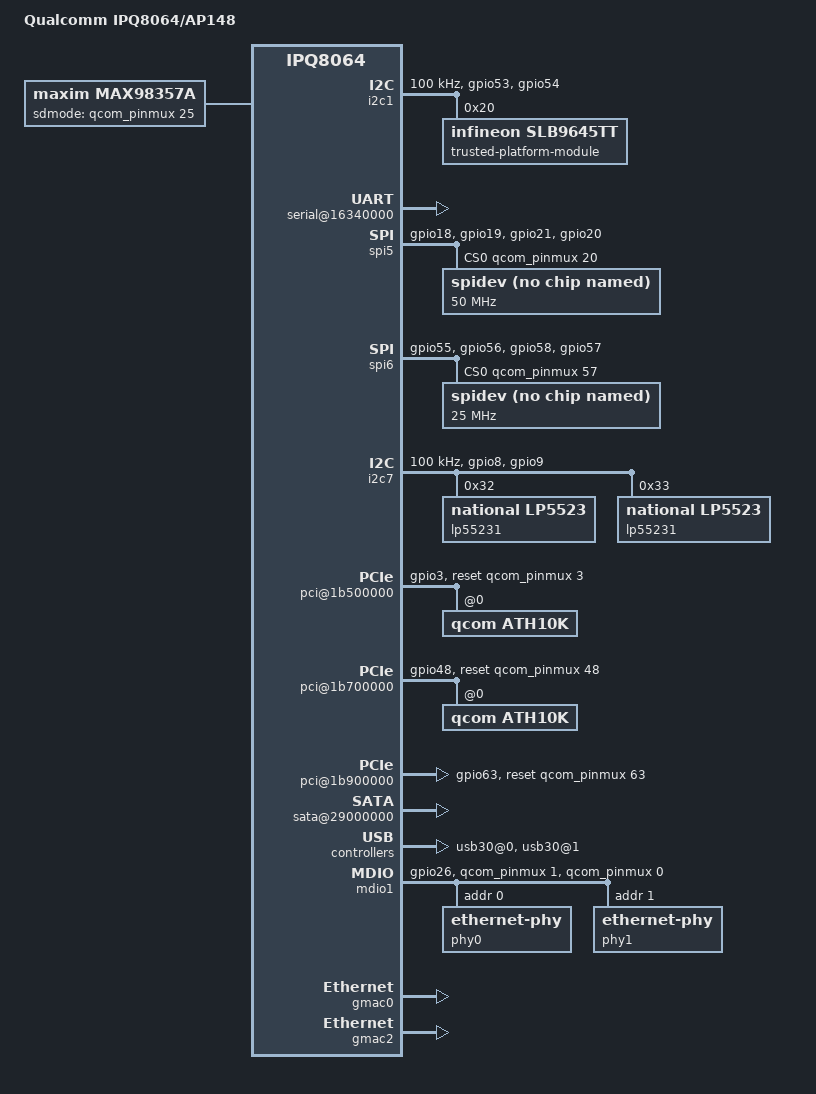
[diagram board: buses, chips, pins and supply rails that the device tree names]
/* #include "qcom-ipq8064-v2.0.dtsi" */
#include "qcom-ipq8064-v1.0.dtsi"

#include <dt-bindings/input/input.h>
#include <dt-bindings/soc/qcom,tcsr.h>

/*
This is my version of the tweaked dts file for the Tplink Onhub, I started from
https://chromium.googlesource.com/chromiumos/third_party/kernel/+/chromeos-3.14/arch/arm/boot/dts/qcom-ipq8064-whirlwind-sp5.dts


Summary of changes made
 * change #include to use the v2.0 that's part of this openwrt
 * add new string to 'compatible'
 * add include of dt-bindings that were found in other files using qcom-usb-ctrl-select, switch back to v1 for main include
 * change label of mdio0 to mdio1 because it was conflicting with arch/arm/boot/dts/qcom-ipq8064.dtsi:		mdio0: mdio@37000000 {
 * set #address-cells = <1>; #size-cells = <0>; on spi5 and spi6
 * add @20 to fix
  qcom-ipq8064-onhub.dts:273.29-277.7: Warning (i2c_bus_reg): /soc/gsbi@12440000/i2c@12460000/trusted-platform-module: I2C bus unit address format error, expected "20"
  https://patchwork.kernel.org/project/linux-arm-kernel/patch/20180913181245.25484-13-robh@kernel.org/
 * fix dma references (shouldn't include third reference, but can't find the patch that led me to that)
 qcom-ipq8064-onhub.dts:304.5-305.22: Warning (dmas_property): /soc/gsbi@1a200000/spi@1a280000:dmas: cell 2 is not a phandle reference
 * add compatible = "qcom,ath10k"; to the ath10k pci devices
 remove properties  qcom,ath10k-sa-gpio and qcom,ath10k-sa-gpio-func since they threw warnings and weren't mentioned in ath10k driver file
 /home/debian/openwrt/build_dir/target-arm_cortex-a9+neon-fp16_musl_eabi/linux-ipq806x_chromium/linux-5.10.120/arch/arm/boot/dts/qcom-ipq8064-onhub.dts:463.6-41: Warning (gpios_property): /soc/pci@1b500000/pcie@0/ath10k@0,0:qcom,ath10k-sa-gpio: cell 0 is not a phandle reference
/home/debian/openwrt/build_dir/target-arm_cortex-a9+neon-fp16_musl_eabi/linux-ipq806x_chromium/linux-5.10.120/arch/arm/boot/dts/qcom-ipq8064-onhub.dts:459.16-465.7: Warning (gpios_property): /soc/pci@1b500000/pcie@0/ath10k@0,0: Missing property '#gpio-cells' in node /soc/qfprom@700000/speedbin@0c0 or bad phandle (referred from qcom,ath10k-sa-gpio[0])
 https://elixir.bootlin.com/linux/latest/source/Documentation/devicetree/bindings/net/wireless/qcom,ath10k.txt
* add 'chosen' block copied from google wifi dts


TODOs?
 * should the model name and compatible name be more like TP-LINK OnHub TGR1900?
 * do a diff between the qcom-ipq8064-v1.0.dtsi that's part of newer 5.10 kernels, and the one that's in the chromiumos repository
*/

/ {
	model = "Qualcomm IPQ8064/AP148";
	compatible = "tplink,onhub", "google,whirlwind-sp5", "qcom,ipq8064";

	chosen {
		/*
		 * rootwait: in case we're booting from slow/async USB storage.
		 */
		bootargs-append = " rootwait";
		stdout-path = &blsp1_uart1;
	};

	reserved-memory {
		#address-cells = <1>;
		#size-cells = <1>;
		rsvd@41200000 {
			reg = <0x41200000 0x300000>;
			no-map;
		};
	};
	aliases {
		mdio-gpio0 = &mdio1;
		spi5 = &spi5; /* flashrom requires this bus to be the lowest */
		spi6 = &spi6;
	};
	firmware {
		chromeos {
			pinctrl-0 = <&fw_pins>;
			pinctrl-names = "default";
			write-protect-gpio = <&qcom_pinmux 17 1>;
			recovery-switch = <&qcom_pinmux 16 1>;
			developer-switch = <&qcom_pinmux 15 1>;
		};
	};
	soc {
		pinmux@800000 {
			pinctrl-0 = <&rgmii0_pinmux>;
			pinctrl-names = "default";
			mi2s_pins {
				mi2s_default: mi2s_default {
					dout {
						pins = "gpio32";
						function = "mi2s_a";
						drive-strength = <16>;
						bias-disable;
					};
					sync {
						pins = "gpio27";
						function = "mi2s_a";
						drive-strength = <16>;
						bias-disable;
					};
					clk {
						pins = "gpio28";
						function = "mi2s_a";
						drive-strength = <16>;
						bias-disable;
					};
				};
				mi2s_idle: mi2s_idle {
					dout {
						pins = "gpio32";
						function = "mi2s_a";
						drive-strength = <2>;
						bias-pull-down;
					};
					sync {
						pins = "gpio27";
						function = "mi2s_a";
						drive-strength = <2>;
						bias-pull-down;
					};
					clk {
						pins = "gpio28";
						function = "mi2s_a";
						drive-strength = <2>;
						bias-pull-down;
					};
				};
			};
			sdmode_pins: sdmode_pinmux {
				pins = "gpio25";
				function = "gpio";
				drive-strength = <16>;
				bias-disable;
			};
			sdcc1_pins: sdcc1_pinmux {
				mux {
					pins = "gpio38", "gpio39", "gpio40",
					       "gpio41", "gpio42", "gpio43",
					       "gpio44", "gpio45", "gpio46",
					       "gpio47";
					function = "sdc1";
				};
				cmd {
					pins = "gpio45";
					drive-strength = <10>;
					bias-pull-up;
				};
				data {
					pins = "gpio38", "gpio39", "gpio40",
					       "gpio41", "gpio43", "gpio44",
					       "gpio46", "gpio47";
					drive-strength = <10>;
					bias-pull-up;
				};
				clk {
					pins = "gpio42";
					drive-strength = <16>;
					bias-pull-down;
				};
			};
			i2c1_pins: i2c1_pinmux {
				pins = "gpio53", "gpio54";
				function = "gsbi1";
				bias-disable;
			};
			rpm_i2c_pinmux: rpm_i2c_pinmux {
				mux {
					pins = "gpio12", "gpio13";
					function = "gsbi4";
					drive-strength = <12>;
					bias-disable;
				};
			};
			i2c7_pins: i2c7_pinmux {
				mux {
					pins = "gpio8", "gpio9";
					function = "gsbi7";
				};
				data {
					pins = "gpio8";
					bias-disable;
				};
				clk {
					pins = "gpio9";
					bias-disable;
				};
			};
			pcie1_pins: pcie1_pinmux {
				mux {
					pins = "gpio3";
					drive-strength = <2>;
					bias-disable;
				};
			};
			pcie2_pins: pcie2_pinmux {
				mux {
					pins = "gpio48";
					drive-strength = <2>;
					bias-disable;
				};
			};
			pcie3_pins: pcie3_pinmux {
				mux {
					pins = "gpio63";
					drive-strength = <2>;
					bias-disable;
				};
			};
			rgmii0_pinmux: rgmii0_pinmux {
				mux {
					pins = "gpio2", "gpio66";
					drive-strength = <8>;
					bias-disable;
				};
			};
			spi_pins: spi_pins {
				mux {
					pins = "gpio18", "gpio19", "gpio21";
					function = "gsbi5";
					bias-pull-down;
				};
				data {
					pins = "gpio18", "gpio19";
					drive-strength = <10>;
				};
				cs {
					pins = "gpio20";
					drive-strength = <10>;
					bias-pull-up;
				};
				clk {
					pins = "gpio21";
					drive-strength = <12>;
				};
			};
			switch_reset: switch_reset {
				rst {
					pins = "gpio26";
					output-low;
				};
			};
			fw_pins: fw_pinmux {
				wp {
					pins = "gpio17";
					output-low;
				};
				recovery {
					pins = "gpio16";
					bias-none;
				};
				developer {
					pins = "gpio15";
					bias-none;
				};
			};
			spi6_pins: spi6_pins {
				mux {
					pins = "gpio55", "gpio56", "gpio58";
					function = "gsbi6_b";
					bias-pull-down;
				};
				data {
					pins = "gpio55", "gpio56";
					drive-strength = <10>;
				};
				cs {
					pins = "gpio57";
					drive-strength = <10>;
					bias-pull-up;
					output-high;
				};
				clk {
					pins = "gpio58";
					drive-strength = <12>;
				};
			};
		};
		sound {
			compatible = "qcom,ipq806x-max98357a";
			status = "ok";
			qcom,model = "ipq806x-max98357a";
			cpu = <&lpass>;
			codec = <&max98357a>;
			codec-dai = "max98357a";
		};
		lpass: lpass@28100000 {
			status = "ok";
			pinctrl-names = "default", "idle";
			pinctrl-0 = <&mi2s_default>;
			pinctrl-1 = <&mi2s_idle>;
		};
		max98357a: max98357a {
			compatible = "maxim,max98357a";
			status = "ok";
			#sound-dai-cells = <1>;
			sdmode-gpios = <&qcom_pinmux 25 0>;
		};
		gsbi1: gsbi@12440000 {
			qcom,mode = <GSBI_PROT_I2C_UART>;
			status = "ok";
			i2c1: i2c@12460000 {
				status = "ok";
				clock-frequency = <100000>;
				pinctrl-0 = <&i2c1_pins>;
				pinctrl-names = "default";
				trusted-platform-module@20 {
					compatible = "infineon,slb9645tt";
					reg = <0x20>;
					powered-while-suspended;
				};
			};
		};
		gsbi@16300000 {
			qcom,mode = <GSBI_PROT_I2C_UART>;
			status = "ok";
			serial@16340000 {
				status = "ok";
			};
			/*
			 * The i2c device on gsbi4 should not be enabled.
			 * On ipq806x designs gsbi4 i2c is meant for exclusive
			 * RPM usage. Turning this on in kernel manifests as
			 * i2c failure for the RPM.
			 */
		};
		gsbi5: gsbi@1a200000 {
			qcom,mode = <GSBI_PROT_SPI>;
			status = "ok";
			spi5: spi@1a280000 {
				#address-cells = <1>;
				#size-cells = <0>;
				status = "ok";
				spi-max-frequency = <50000000>;
				pinctrl-0 = <&spi_pins>;
				pinctrl-names = "default";
				cs-gpios = <&qcom_pinmux 20 0>;
				dmas = <&adm_dma 6>,
					<&adm_dma 5>;
				dma-names = "rx", "tx";
				spidev@0 {
					compatible = "spidev";
					reg = <0>;
					spi-max-frequency = <50000000>;
				};
			};
		};
		gsbi6: gsbi@16500000 {
			qcom,mode = <GSBI_PROT_SPI>;
			status = "ok";
			spi6: spi@16580000 {
				#address-cells = <1>;
				#size-cells = <0>;
				status = "ok";
				spi-max-frequency = <25000000>;
				pinctrl-0 = <&spi6_pins>;
				pinctrl-names = "default";
				cs-gpios = <&qcom_pinmux 57 0>;
				dmas = <&adm_dma 8>,
					<&adm_dma 7>;
				dma-names = "rx", "tx";
				spidev@0 {
					compatible = "spidev";
					reg = <0>;
					spi-max-frequency = <25000000>;
				};
			};
		};
		gsbi7: gsbi@16600000 {
			qcom,mode = <GSBI_PROT_I2C_UART>;
			status = "ok";
			i2c7: i2c@16680000 {
				status = "ok";
				clock-frequency = <100000>;
				pinctrl-0 = <&i2c7_pins>;
				pinctrl-names = "default";
				lp55231@32 {
					compatible = "national,lp5523";
					reg = <0x32>;
					clock-mode = /bits/ 8 <1>;
					chan0 {
						chan-name = "LED0_Red";
						led-cur = /bits/ 8 <0x64>;
						max-cur = /bits/ 8 <0x78>;
					};
					chan1 {
						chan-name = "LED0_Green";
						led-cur = /bits/ 8 <0x64>;
						max-cur = /bits/ 8 <0x78>;
					};
					chan2 {
						chan-name = "LED0_Blue";
						led-cur = /bits/ 8 <0x64>;
						max-cur = /bits/ 8 <0x78>;
					};
					chan3 {
						chan-name = "LED1_Red";
						led-cur = /bits/ 8 <0x64>;
						max-cur = /bits/ 8 <0x78>;
					};
					chan4 {
						chan-name = "LED1_Green";
						led-cur = /bits/ 8 <0x64>;
						max-cur = /bits/ 8 <0x78>;
					};
					chan5 {
						chan-name = "LED1_Blue";
						led-cur = /bits/ 8 <0x64>;
						max-cur = /bits/ 8 <0x78>;
					};
					chan6 {
						chan-name = "LED2_Red";
						led-cur = /bits/ 8 <0x64>;
						max-cur = /bits/ 8 <0x78>;
					};
					chan7 {
						chan-name = "LED2_Green";
						led-cur = /bits/ 8 <0x64>;
						max-cur = /bits/ 8 <0x78>;
					};
					chan8 {
						chan-name = "LED2_Blue";
						led-cur = /bits/ 8 <0x64>;
						max-cur = /bits/ 8 <0x78>;
					};
				};
				lp55231@33 {
					compatible = "national,lp5523";
					reg = <0x33>;
					clock-mode = /bits/ 8 <1>;
					chan0 {
						chan-name = "LED3_Red";
						led-cur = /bits/ 8 <0x64>;
						max-cur = /bits/ 8 <0x78>;
					};
					chan1 {
						chan-name = "LED3_Green";
						led-cur = /bits/ 8 <0x64>;
						max-cur = /bits/ 8 <0x78>;
					};
					chan2 {
						chan-name = "LED3_Blue";
						led-cur = /bits/ 8 <0x64>;
						max-cur = /bits/ 8 <0x78>;
					};
					chan3 {
						chan-name = "LED4_Red";
						led-cur = /bits/ 8 <0x64>;
						max-cur = /bits/ 8 <0x78>;
					};
					chan4 {
						chan-name = "LED4_Green";
						led-cur = /bits/ 8 <0x64>;
						max-cur = /bits/ 8 <0x78>;
					};
					chan5 {
						chan-name = "LED4_Blue";
						led-cur = /bits/ 8 <0x64>;
						max-cur = /bits/ 8 <0x78>;
					};
					chan6 {
						chan-name = "LED5_Red";
						led-cur = /bits/ 8 <0x64>;
						max-cur = /bits/ 8 <0x78>;
					};
					chan7 {
						chan-name = "LED5_Green";
						led-cur = /bits/ 8 <0x64>;
						max-cur = /bits/ 8 <0x78>;
					};
					chan8 {
						chan-name = "LED5_Blue";
						led-cur = /bits/ 8 <0x64>;
						max-cur = /bits/ 8 <0x78>;
					};
				};
			};
		};
		pci@1b500000 {
			status = "ok";
			reset-gpio = <&qcom_pinmux 3 0>;
			pinctrl-0 = <&pcie1_pins>;
			pinctrl-names = "default";
			ranges = <0x00000000 0 0x00000000 0x0ff00000 0 0x00100000   /* configuration space */
				  0x81000000 0 0	  0x0fe00000 0 0x00100000   /* downstream I/O */
				  0x82000000 0 0x00000000 0x08000000 0 0x07e00000>; /* non-prefetchable memory */
			pcie@0 {
				reg = <0 0 0 0 0>;
				#interrupt-cells = <1>;
				#size-cells = <2>;
				#address-cells = <3>;
				device_type = "pci";
				ath10k@0,0 {
		            compatible = "qcom,ath10k";
					reg = <0 0 0 0 0>;
					/*device_type = "pci";*/
					qcom,ath10k-calibration-data = [00];
					/*
					qcom,ath10k-sa-gpio = <12 13 14 0>;
					qcom,ath10k-sa-gpio-func = <5 5 5 0>;
					*/
				};
			};
		};
		pci@1b700000 {
			status = "ok";
			reset-gpio = <&qcom_pinmux 48 0>;
			pinctrl-0 = <&pcie2_pins>;
			pinctrl-names = "default";
			ranges = <0x00000000 0 0x00000000 0x31f00000 0 0x00100000   /* configuration space */
				  0x81000000 0 0	  0x31e00000 0 0x00100000   /* downstream I/O */
				  0x82000000 0 0x00000000 0x2e000000 0 0x03e00000>; /* non-prefetchable memory */
			pcie@0 {
				reg = <0 0 0 0 0>;
				#interrupt-cells = <1>;
				#size-cells = <2>;
				#address-cells = <3>;
				device_type = "pci";
				ath10k@0,0 {
		            compatible = "qcom,ath10k";
					reg = <0 0 0 0 0>;
					/* device_type = "pci"; */
					qcom,ath10k-calibration-data = [00];
					/*
					qcom,ath10k-sa-gpio = <12 13 14 0>;
					qcom,ath10k-sa-gpio-func = <5 5 5 0>;
					*/
				};
			};
		};
		pci@1b900000 {
			status = "ok";
			reset-gpio = <&qcom_pinmux 63 0>;
			pinctrl-0 = <&pcie3_pins>;
			pinctrl-names = "default";
			ranges = <0x00000000 0 0x00000000 0x35f00000 0 0x00100000   /* configuration space */
				  0x81000000 0 0	  0x35e00000 0 0x00100000   /* downstream I/O */
				  0x82000000 0 0x00000000 0x32000000 0 0x03e00000>; /* non-prefetchable memory */
			pcie@0 {
				reg = <0 0 0 0 0>;
				#interrupt-cells = <1>;
				#size-cells = <2>;
				#address-cells = <3>;
				device_type = "pci";
				ath10k@0,0 {
					reg = <0 0 0 0 0>;
					/*device_type = "pci";*/
					qcom,ath10k-calibration-data = [00];
				};
			};
		};
		sata-phy@1b400000 {
			status = "ok";
		};
		sata@29000000 {
			status = "ok";
		};
		dma@18300000 {
			status = "ok";
		};
		tcsr@1a400000 {
			status = "ok";
			qcom,usb-ctrl-select = <TCSR_USB_SELECT_USB3_DUAL>;
			/*
			TODO
			I think that the adm-*-crci-mux-sel functions are not in the mainline kernel, perhaps a chromium os
			only patch?
			https://groups.google.com/a/chromium.org/g/chromium-os-reviews/c/nYWrv8nrl80

			Commenting these out for now, since the old v3 didn't use them either.  Perhaps if the usb port doesn't
			work right, then we can come back to it?
			*/
			/*
			qcom,adm-a-crci-mux-sel = <(TCSR_ADM_CRCI_SEL(GSBI1, ADM_CRCI_QUP) |
						    TCSR_ADM_CRCI_SEL(GSBI4, ADM_CRCI_QUP) |
						    TCSR_ADM_CRCI_SEL(GSBI5, ADM_CRCI_QUP) |
						    TCSR_ADM_CRCI_SEL(GSBI6, ADM_CRCI_QUP) |
						    TCSR_ADM_CRCI_SEL(GSBI7, ADM_CRCI_QUP))>;
			qcom,adm-b-crci-mux-sel = <(TCSR_ADM_CRCI_SEL(GSBI1, ADM_CRCI_QUP) |
						    TCSR_ADM_CRCI_SEL(GSBI4, ADM_CRCI_QUP) |
						    TCSR_ADM_CRCI_SEL(GSBI5, ADM_CRCI_QUP) |
						    TCSR_ADM_CRCI_SEL(GSBI6, ADM_CRCI_QUP) |
						    TCSR_ADM_CRCI_SEL(GSBI7, ADM_CRCI_QUP))>;
			*/
		};
		phy@100f8800 {		/* USB3 port 1 HS phy */
			status = "ok";
		};
		phy@100f8830 {		/* USB3 port 1 SS phy */
			status = "ok";
		};
		phy@110f8800 {		/* USB3 port 0 HS phy */
			status = "ok";
		};
		phy@110f8830 {		/* USB3 port 0 SS phy */
			status = "ok";
		};
		usb30@0 {
			status = "ok";
		};
		usb30@1 {
			status = "ok";
		};
		amba {
			/* eMMC */
			sdcc1: sdcc@12400000 {
				status = "okay";
				pinctrl-0 = <&sdcc1_pins>;
				pinctrl-names = "default";
			};
			/* External micro SD card */
			sdcc3: sdcc@12180000 {
				status = "okay";
			};
		};
		mdio1: mdio {
			compatible = "virtual,mdio-gpio";
			#address-cells = <1>;
			#size-cells = <0>;
			gpios = <&qcom_pinmux 1 0 &qcom_pinmux 0 0>;
			pinctrl-0 = <&switch_reset>;
			pinctrl-names = "default";
			phy0: ethernet-phy@0 {
				device_type = "ethernet-phy";
				reg = <0>;
				qca,ar8327-initvals = <
					0x00004 0x7600000   /* PAD0_MODE */
					0x00008 0x1000000   /* PAD5_MODE */
					0x0000c 0x80        /* PAD6_MODE */
					0x000e4 0xaa545     /* MAC_POWER_SEL */
					0x000e0 0xc74164de  /* SGMII_CTRL */
					0x0007c 0x4e        /* PORT0_STATUS */
					0x00094 0x4e        /* PORT6_STATUS */
				>;
				qca,ar8327-vlans =<
					0x1	0x42	/* VLAN1 Ports 1/6 */
					0x2	0x05	/* VLAN2 Ports 0/2 */
				>;
			};
			phy1: ethernet-phy@1 {
				device_type = "ethernet-phy";
				reg = <1>;
			};
		};
		/*
		TODO figure out how to include NSS (network accelerator) if we can get the <$gcc> syntax figured out
		Maybe it needs to be done in a patch?
		*/
		/*
		nss0: nss@40000000 {
			compatible = "qcom,nss0";
			interrupts = <0 213 0x4>;
			reg = <0x36000000 0x1000 0x39000000 0x20000>;
			reg-names = "nphys", "vphys";
			clocks = <&gcc NSS_CORE_CLK>, <&gcc NSSTCM_CLK_SRC>, <&gcc NSSTCM_CLK>;
			clock-names = "nss_core_clk", "nss_tcm_src", "nss_tcm_clk";
			resets = <&gcc UBI32_CORE1_CLKRST_CLAMP_RESET>,
				 <&gcc UBI32_CORE1_CLAMP_RESET>,
				 <&gcc UBI32_CORE1_AHB_RESET>,
				 <&gcc UBI32_CORE1_AXI_RESET>;
			reset-names = "clkrst_clamp", "clamp", "ahb", "axi";
			qcom,id = <0>;
			qcom,num_irq = <1>;
			qcom,rst_addr = <0x40000000>;
			qcom,load_addr = <0x40000000>;
			qcom,turbo_frequency = <1>;
			qcom,ipv4_enabled = <1>;
			qcom,ipv6_enabled = <1>;
			qcom,l2switch_enabled = <1>;
			qcom,crypto_enabled = <0>;
			qcom,ipsec_enabled = <0>;
			qcom,wlan_enabled = <0>;
			qcom,tun6rd_enabled = <1>;
			qcom,tunipip6_enabled = <1>;
			qcom,shaping_enabled = <1>;
			qcom,gmac0_enabled = <1>;
			qcom,gmac1_enabled = <1>;
			qcom,gmac2_enabled = <1>;
			qcom,gmac3_enabled = <1>;
		};
		*/
		nss-gmac-common {
			reg = <0x03000000 0x0000FFFF 0x1bb00000 0x0000FFFF 0x00900000 0x00004000>;
			reg-names = "nss_reg_base" , "qsgmii_reg_base", "clk_ctl_base";
		};
		gmac0: ethernet@37000000 {
			device_type = "network";
			compatible = "qcom,nss-gmac0";
			reg = <0x37000000 0x200000>;
			qcom,id = <0>;			/* gmac0 */
			qcom,phy_mdio_addr = <1>;
			qcom,poll_required = <1>;	/* enable polling */
			qcom,rgmii_delay = <0>;
			qcom,phy_mii_type = <0>;	/* RGMII */
			qcom,emulation = <0>;
			qcom,forced_speed = <1000>;	/* Force speed 1G */
			qcom,forced_duplex = <1>;	/* Force duplex FD */
			qcom,irq = <252>;
			qcom,socver = <1>;
			local-mac-address = [000000000000];
			mdiobus = <&mdio1>;
		};
		gmac2: ethernet@37400000 {
			device_type = "network";
			compatible = "qcom,nss-gmac2";
			reg = <0x37400000 0x200000>;
			qcom,id = <2>;
			qcom,phy_mdio_addr = <32>;	/* none */
			qcom,poll_required = <0>;	/* no polling */
			qcom,rgmii_delay = <0>;
			qcom,phy_mii_type = <1>;	/* SGMII */
			qcom,emulation = <0>;
			qcom,forced_speed = <1000>;	/* Force speed 1G */
			qcom,forced_duplex = <1>;	/* Force duplex FD */
			qcom,irq = <258>;
			qcom,socver = <1>;
			local-mac-address = [000000000000];
			mdiobus = <&mdio1>;
		};
		watchdog@208a038 {
			compatible = "qcom,kpss-wdt-ipq8064";
			reg = <0x0208a038 0x40>;
			clock-frequency = <32768>;
			timeout-sec = <10>;
		};
		rpm@108000 {
			pinctrl-0 = <&rpm_i2c_pinmux>;
			pinctrl-names = "default";
		};
	};
};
